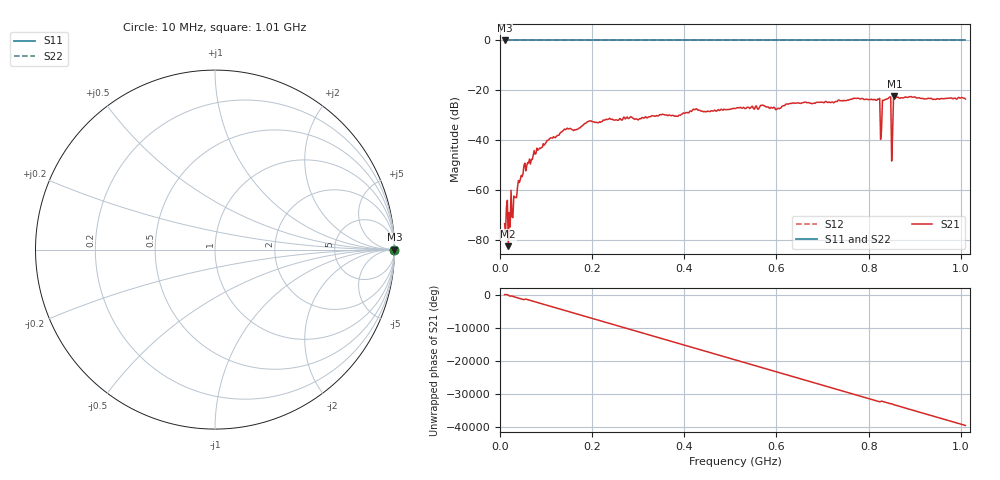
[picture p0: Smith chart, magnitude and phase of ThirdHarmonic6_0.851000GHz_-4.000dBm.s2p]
! 8/16/2025 4:09:46 AM
! C:\ANRITSUVNA\TEMP\TEMP.S2P
! CHANNEL.1
! TR.MEASUREMENT
! RAW.DATA
! RF.CORRECTION.OFF
! AVERAGING.OFF
! IF.BANDWIDTH: 5KHZ
! SWEEPTYPE:  FREQ.SWEEP(Linear)
! Reference Plane Port Info
! PORT:  PORT1  PORT2
! DISTANCE:  0  m  0  m
! TIME:  0  s  0  s
! PHASE.OFFSET:  0  deg.  0  deg.
! LOSS:  0  dB  0  dB
! REF.LOSS:  0  dB  0  dB
! REF.FREQ:  0  Hz  0  Hz
! Power Info
! POWER:  -20  dBm  -20  dBm
! EFF.POWER:  -20  dBm  -20  dBm
! SOURCE.ATTEN:  0  dB  0  dB
! TEST.ATTEN:  0  dB  0  dB
# GHZ S RI R 50.0
! FREQ.GHZ  S11RE  S11IM  S21RE  S21IM  S12RE  S12IM  S22RE  S22IM
!; PortSelection: Port_12
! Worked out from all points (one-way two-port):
!   501 points, 10 MHz to 1.01 GHz, reference 50 ohm
!   highest |S21| = -22.26 dB at 856 MHz (marker M1); lowest = -82.5 dB at 18 MHz (marker M2)
!   lowest |S11| = 0.0 dB at 10 MHz (marker M3)
!   |S11| at or under -10 dB: nowhere
!   |S22| runs from 0.0 to 0.0 dB; largest |S21 - S12| = 1.1
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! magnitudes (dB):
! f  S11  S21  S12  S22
! 10 MHz  0.0  -73.5  0.0  0.0
! 18 MHz  0.0  -82.5  0.0  0.0
! 22 MHz  0.0  -74.9  0.0  0.0
! 28 MHz  0.0  -71.1  0.0  0.0
! 50 MHz  0.0  -53.4  0.0  0.0
! 76 MHz  0.0  -45.6  0.0  0.0
! 142 MHz  0.0  -35.8  0.0  0.0
! 178 MHz  0.0  -34.3  0.0  0.0
! 194 MHz  0.0  -32.3  0.0  0.0
! 344 MHz  0.0  -30.2  0.0  0.0
! 510 MHz  0.0  -27.3  0.0  0.0
! 678 MHz  0.0  -25.4  0.0  0.0
! 820 MHz  0.0  -23.5  0.0  0.0
! 824 MHz  0.0  -23.2  0.0  0.0
! 830 MHz  0.0  -24.0  0.0  0.0
! 834 MHz  0.0  -23.9  0.0  0.0
! 844 MHz  0.0  -23.0  0.0  0.0
! 848 MHz  0.0  -22.7  0.0  0.0
! 854 MHz  0.0  -23.3  0.0  0.0
! 856 MHz  0.0  -22.3  0.0  0.0
! 860 MHz  0.0  -22.8  0.0  0.0
! 1.01 GHz  0.0  -23.5  0.0  0.0
